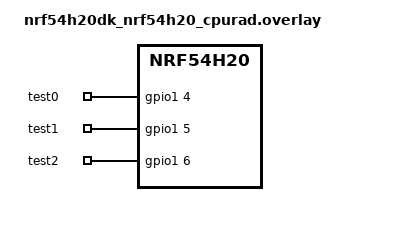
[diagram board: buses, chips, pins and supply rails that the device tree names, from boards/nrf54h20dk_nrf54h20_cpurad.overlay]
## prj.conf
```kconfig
CONFIG_STDOUT_CONSOLE=n
CONFIG_MBOX=y

CONFIG_PM=y
CONFIG_POWEROFF=y
CONFIG_CONSOLE=n
CONFIG_UART_CONSOLE=n
CONFIG_SERIAL=n
CONFIG_GPIO=n
CONFIG_BOOT_BANNER=n

CONFIG_LOG=n
CONFIG_PRINTK=n

CONFIG_TX_ENABLED=n
```

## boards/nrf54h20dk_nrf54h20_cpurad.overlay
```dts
/*
 * Copyright 2024 Nordic Semiconductor ASA
 * SPDX-License-Identifier: Apache-2.0
 */

/ {
	mbox-consumer {
		compatible = "vnd,mbox-consumer";
		mboxes = <&cpuapp_bellboard 18>, <&cpurad_bellboard 12>;
		mbox-names = "tx", "rx";
	};

	test_gpio {
		compatible = "gpio-keys";
		test0: test0 {
			gpios = <&gpio1 4 GPIO_ACTIVE_HIGH>;
		};
		test1: test1 {
			gpios = <&gpio1 5 GPIO_ACTIVE_HIGH>;
		};
		test2: test2 {
			gpios = <&gpio1 6 GPIO_ACTIVE_HIGH>;
		};
	};

};

&cpuapp_bellboard {
	status = "okay";
};

&cpurad_bellboard {
	status = "okay";
	/* When other cpurad_bellboard channel is selected for RX,
	 * make sure it's enabled in the interrupt mask.
	 * See `nordic,interrupt-mapping` property.
	 */
};



// &pinctrl {
// 	gpio1_default: gpio1_default {
// 		group1 {
// 			pins = <4>;
// 			function = "output";
// 		};
// 	};
// };

// &gpio1 {
// 	status = "okay";
// 	pinctrl-0 = <&gpio1_default>;
// 	pinctrl-names = "default";
// };
```

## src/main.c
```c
/*
 * Copyright (c) 2021 Carlo Caione <ccaione@baylibre.com>
 *
 * SPDX-License-Identifier: Apache-2.0
 */

#include <zephyr/kernel.h>
#include <zephyr/drivers/mbox.h>
#include <zephyr/sys/printk.h>

#include <hal/nrf_gpio.h>

#if !defined(CONFIG_RX_ENABLED) && !defined(CONFIG_TX_ENABLED)
#error "At least one of CONFIG_RX_ENABLED or CONFIG_TX_ENABLED must be set"
#endif

#ifdef CONFIG_RX_ENABLED
static void callback(const struct device *dev, mbox_channel_id_t channel_id,
		     void *user_data, struct mbox_msg *data)
{

	nrf_gpio_pin_toggle(NRF_GPIO_PIN_MAP(1, 4));
	printk("Pong (on channel %d)\n", channel_id);
}
#endif /* CONFIG_RX_ENABLED */

int main(void)
{
	int ret;

	nrf_gpio_cfg_output(NRF_GPIO_PIN_MAP(1, 4));
	nrf_gpio_cfg_output(NRF_GPIO_PIN_MAP(1, 5));
	nrf_gpio_cfg_output(NRF_GPIO_PIN_MAP(1, 6));

	printk("Hello from REMOTE - %s\n", CONFIG_BOARD_TARGET);

#ifdef CONFIG_RX_ENABLED
	const struct mbox_dt_spec rx_channel = MBOX_DT_SPEC_GET(DT_PATH(mbox_consumer), rx);

	printk("Maximum RX channels: %d\n", mbox_max_channels_get_dt(&rx_channel));

	ret = mbox_register_callback_dt(&rx_channel, callback, NULL);
	if (ret < 0) {
		printk("Could not register callback (%d)\n", ret);
		return 0;
	}

	ret = mbox_set_enabled_dt(&rx_channel, true);
	if (ret < 0) {
		printk("Could not enable RX channel %d (%d)\n", rx_channel.channel_id, ret);
		return 0;
	}
#endif /* CONFIG_RX_ENABLED */

#ifdef CONFIG_TX_ENABLED
	const struct mbox_dt_spec tx_channel = MBOX_DT_SPEC_GET(DT_PATH(mbox_consumer), tx);

	printk("Maximum bytes of data in the TX message: %d\n", mbox_mtu_get_dt(&tx_channel));
	printk("Maximum TX channels: %d\n", mbox_max_channels_get_dt(&tx_channel));

	while (1) {
#if defined(CONFIG_MULTITHREADING)
		k_sleep(K_MSEC(3000));
#else
		k_busy_wait(3000000);
#endif

		printk("Ping (on channel %d)\n", tx_channel.channel_id);

		ret = mbox_send_dt(&tx_channel, NULL);
		if (ret < 0) {
			printk("Could not send (%d)\n", ret);
			return 0;
		}
	}
#endif /* CONFIG_TX_ENABLED */
	return 0;
}
```
